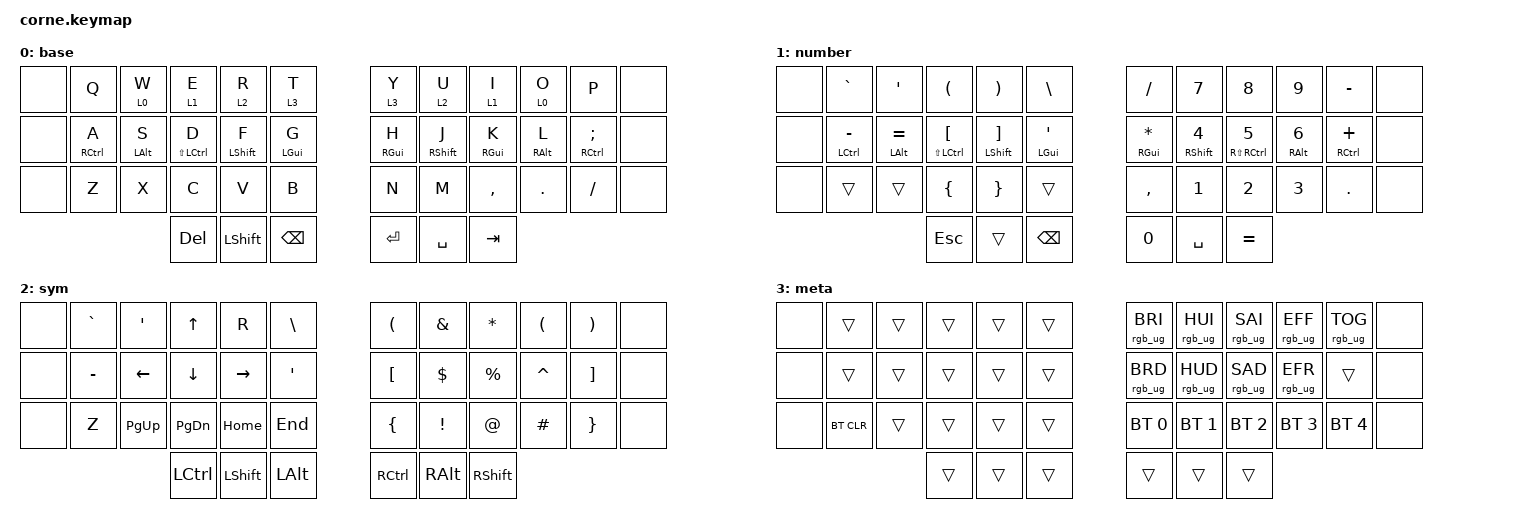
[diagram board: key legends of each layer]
/*
 * Copyright (c) 2020 The ZMK Contributors
 *
 * SPDX-License-Identifier: MIT
 */

#include <behaviors.dtsi>
#include <dt-bindings/zmk/bt.h>
#include <dt-bindings/zmk/keys.h>
#include <dt-bindings/zmk/rgb.h>

/ {
    behaviors {
        hml: hml {
            compatible = "zmk,behavior-hold-tap";
            label = "HML";
            bindings = <&kp>, <&kp>;

            #binding-cells = <2>;
            tapping-term-ms = <200>;
            flavor = "balanced";

            //quick-tap-ms = <175>;
            //require-prior-idle-ms = <700>;
            //hold-trigger-key-positions = <39 40 41 6 7 8 9 10 11 18 19 20 21 22 23 30 31 32 33 34 35>;
            //global-quick-tap;

            quick-tap-ms = <160>;
            require-prior-idle-ms = <150>;
            hold-trigger-on-release;
            hold-trigger-key-positions = <6 7 8 9 10 11 18 19 20 21 22 23 30 31 32 33 34 35 39 40 41 37 36 38>;
        };

        hmr: hmr {
            compatible = "zmk,behavior-hold-tap";
            label = "HMR";
            bindings = <&kp>, <&kp>;

            #binding-cells = <2>;
            tapping-term-ms = <200>;
            flavor = "balanced";

            //quick-tap-ms = <175>;
            //require-prior-idle-ms = <700>;
            //hold-trigger-on-release;
            //hold-trigger-key-positions = <36 37 38 0 1 2 3 4 5 12 13 14 15 16 17 26 27 28 29 24 25>;
            //global-quick-tap;

            quick-tap-ms = <160>;
            require-prior-idle-ms = <150>;
            hold-trigger-key-positions = <0 1 2 3 4 5 12 13 14 15 16 17 24 25 26 27 28 29 36 37 38 41 40 39>;
            hold-trigger-on-release;
        };
    };

    keymap {
        compatible = "zmk,keymap";

        base {
            // -----------------------------------------------------------------------------------------
            // |  TAB |  Q  |  W  |  E  |  R  |  T  |   |  Y  |  U   |  I  |  O  |  P  | BKSP |
            // | CTRL |  A  |  S  |  D  |  F  |  G  |   |  H  |  J   |  K  |  L  |  ;  |  '   |
            // | SHFT |  Z  |  X  |  C  |  V  |  B  |   |  N  |  M   |  ,  |  .  |  /  | ESC  |
            //                    | GUI | LWR | SPC |   | ENT | RSE  | ALT |

            bindings = <
&none  &kp Q         &lt 0 W          &lt 1 E           &lt 2 R            &lt 3 T            &lt 3 Y           &lt 2 U             &lt 1 I           &lt 0 O           &kp P            &none
&none  &hml RCTRL A  &hml LEFT_ALT S  &hml LS(LCTRL) D  &hml LEFT_SHIFT F  &hml LEFT_GUI G    &hmr RIGHT_GUI H  &hmr RIGHT_SHIFT J  &hmr RIGHT_GUI K  &hmr RIGHT_ALT L  &hmr RCTRL SEMI  &none
&none  &kp Z         &kp X            &kp C             &kp V              &kp B              &kp N             &kp M               &kp COMMA         &kp DOT           &kp FSLH         &none
                                      &kp DEL           &kp LEFT_SHIFT     &kp BACKSPACE      &kp RET           &kp SPACE           &kp TAB
            >;
        };

        number {
            // -----------------------------------------------------------------------------------------
            // |  TAB |  1  |  2  |  3  |  4  |  5  |   |  6  |  7  |  8  |  9  |  0  | BKSP |
            // | BTCLR| BT1 | BT2 | BT3 | BT4 | BT5 |   | LFT | DWN |  UP | RGT |     |      |
            // | SHFT |     |     |     |     |     |   |     |     |     |     |     |      |
            //                    | GUI |     | SPC |   | ENT |     | ALT |

            bindings = <
&none  &kp GRAVE        &kp SQT             &kp LEFT_PARENTHESIS        &kp RIGHT_PARENTHESIS         &kp BACKSLASH       &kp SLASH               &kp N7                    &kp N8            &kp N9                  &kp MINUS       &none
&none  &mt LCTRL MINUS  &mt LEFT_ALT EQUAL  &mt LS(LCTRL) LEFT_BRACKET  &mt LEFT_SHIFT RIGHT_BRACKET  &mt LEFT_GUI SQT    &mt RIGHT_GUI ASTERISK  &mt RIGHT_SHIFT NUMBER_4  &mt RS(RCTRL) N5  &mt RIGHT_ALT NUMBER_6  &mt RCTRL PLUS  &none
&none  &trans           &trans              &kp LEFT_BRACE              &kp RIGHT_BRACE               &trans              &kp COMMA               &kp NUMBER_1              &kp NUMBER_2      &kp NUMBER_3            &kp PERIOD      &none
                                            &kp ESCAPE                  &trans                        &kp BACKSPACE       &kp N0                  &kp SPACE                 &kp EQUAL
            >;
        };

        sym {
            bindings = <
&none  &kp GRAVE  &kp SQT         &kp UP         &kp R           &kp BACKSLASH    &kp LEFT_PARENTHESIS  &kp AMPERSAND    &kp ASTERISK     &kp LEFT_PARENTHESIS  &kp RIGHT_PARENTHESIS  &none
&none  &kp MINUS  &kp LEFT_ARROW  &kp DOWN       &kp RIGHT       &kp SQT          &kp LEFT_BRACKET      &kp DOLLAR       &kp PERCENT      &kp CARET             &kp RIGHT_BRACKET      &none
&none  &kp Z      &kp PAGE_UP     &kp PAGE_DOWN  &kp HOME        &kp END          &kp LEFT_BRACE        &kp EXCLAMATION  &kp AT_SIGN      &kp HASH              &kp RIGHT_BRACE        &none
                                  &kp LCTRL      &kp LEFT_SHIFT  &kp LEFT_ALT     &kp RCTRL             &kp RIGHT_ALT    &kp RIGHT_SHIFT
            >;
        };

        meta {
            bindings = <
&none  &trans      &trans  &trans  &trans  &trans    &rgb_ug RGB_BRI  &rgb_ug RGB_HUI  &rgb_ug RGB_SAI  &rgb_ug RGB_EFF  &rgb_ug RGB_TOG  &none
&none  &trans      &trans  &trans  &trans  &trans    &rgb_ug RGB_BRD  &rgb_ug RGB_HUD  &rgb_ug RGB_SAD  &rgb_ug RGB_EFR  &trans           &none
&none  &bt BT_CLR  &trans  &trans  &trans  &trans    &bt BT_SEL 0     &bt BT_SEL 1     &bt BT_SEL 2     &bt BT_SEL 3     &bt BT_SEL 4     &none
                           &trans  &trans  &trans    &trans           &trans           &trans
            >;
        };
    };
};
